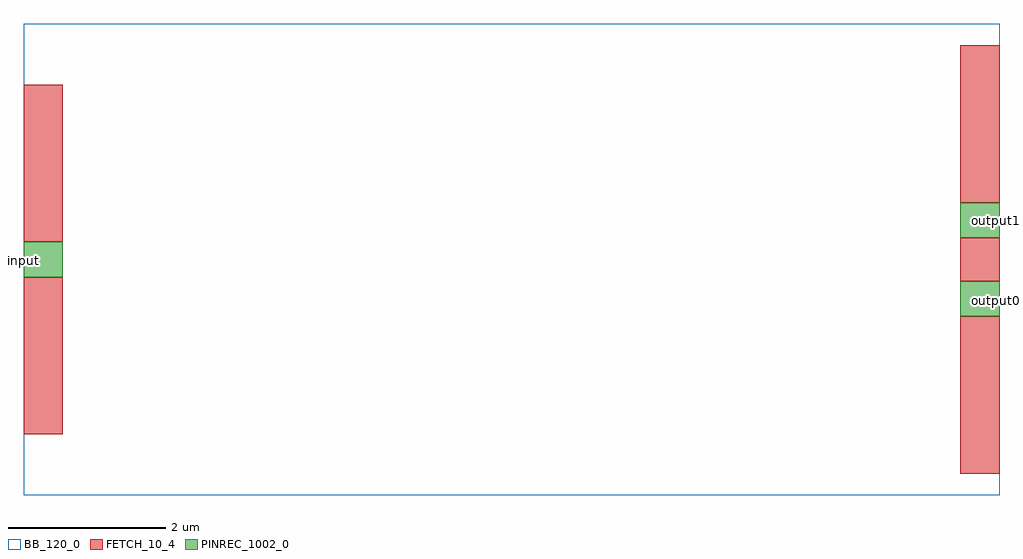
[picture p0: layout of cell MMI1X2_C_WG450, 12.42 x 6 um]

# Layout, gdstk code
import gdstk
lib = gdstk.Library(unit=1e-6, precision=1e-09)
def R(c, l, rs):  # rectangles x0, y0, x1, y1
    for r in rs: c.add(gdstk.rectangle(r[:2], r[2:], *l))
FETCH_10_4 = (10, 4)
BB_120_0 = (120, 0)
PINREC_1002_0 = (1002, 0)

mmi1x2_c_wg450 = lib.new_cell('MMI1X2_C_WG450')
R(mmi1x2_c_wg450, FETCH_10_4, [(11.919,0.275,12.419,2.275), (0,0.775,0.5,2.775), (11.919,2.725,12.419,3.275), (0,3.225,0.5,5.225), (11.919,3.725,12.419,5.725)])
R(mmi1x2_c_wg450, BB_120_0, [(0,0,12.419,6)])
R(mmi1x2_c_wg450, PINREC_1002_0, [(11.919,2.275,12.419,2.725), (0,2.775,0.5,3.225), (11.919,3.275,12.419,3.725)])
mmi1x2_c_wg450.add(gdstk.Label('output0', (12.419,2.477), layer=1000, texttype=0))
mmi1x2_c_wg450.add(gdstk.Label('output1', (12.419,3.49), layer=1000, texttype=0))
mmi1x2_c_wg450.add(gdstk.Label('input', (0,2.991), layer=1000, texttype=0))

lib.write_gds('MMI1X2_C_WG450.gds')
